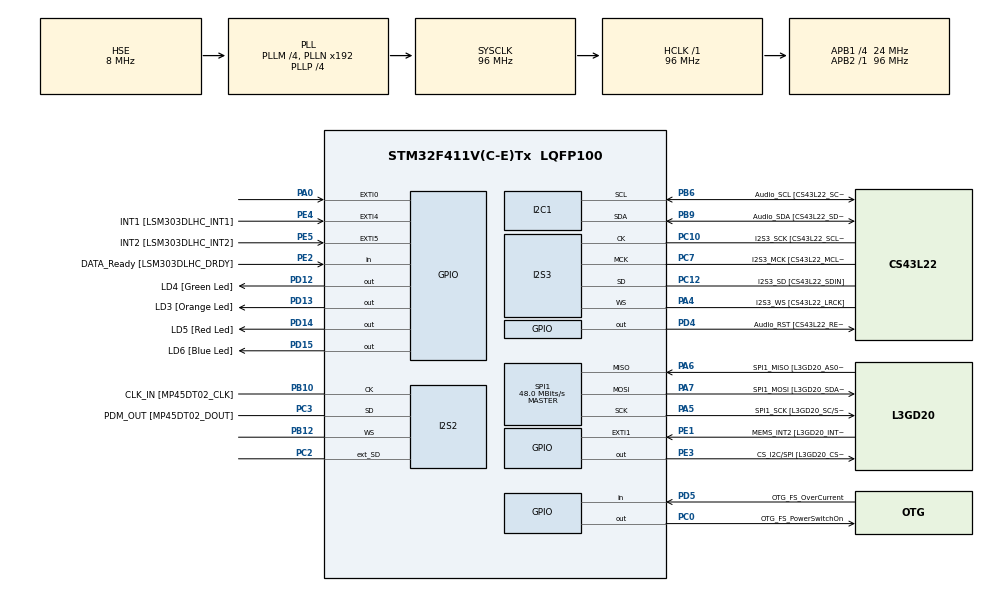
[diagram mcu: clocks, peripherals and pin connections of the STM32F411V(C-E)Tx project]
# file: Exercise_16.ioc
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FREERTOS.BinarySemaphores01=Green2Red,Dynamic,NULL;Red2Green,Dynamic,NULL
FREERTOS.Tasks01=GreenTask,0,128,StartGreenTask,Default,NULL,Dynamic,NULL,NULL;RedTask,0,128,StartRedTask,Default,NULL,Dynamic,NULL,NULL
I2S2.AudioFreq=I2S_AUDIOFREQ_96K
I2S2.ErrorAudioFreq=0.15 %
I2S2.FullDuplexMode=I2S_FULLDUPLEXMODE_ENABLE
I2S2.Instance=SPI$Index
I2S2.RealAudioFreq=96.153 KHz
I2S2.VirtualMode=I2S_MODE_MASTER
I2S3.AudioFreq=I2S_AUDIOFREQ_96K
I2S3.ErrorAudioFreq=-6.99 %
I2S3.FullDuplexMode=I2S_FULLDUPLEXMODE_DISABLE
I2S3.Instance=SPI$Index
I2S3.RealAudioFreq=89.285 KHz
I2S3.VirtualMode=I2S_MODE_MASTER
Mcu.Family=STM32F4
Mcu.Name=STM32F411V(C-E)Tx
Mcu.Package=LQFP100
NVIC.PriorityGroup=NVIC_PRIORITYGROUP_4
NVIC.TIM1_UP_TIM10_IRQn=true\:0\:0\:false\:false\:true\:false\:false\:true
NVIC.TimeBase=TIM1_UP_TIM10_IRQn
NVIC.TimeBaseIP=TIM1
PA0-WKUP.GPIO_ModeDefaultEXTI=GPIO_MODE_EVT_RISING
PA0-WKUP.Signal=GPXTI0
PA10.GPIO_Label=OTG_FS_ID
PA10.Signal=USB_OTG_FS_ID
PA11.GPIO_Label=OTG_FS_DM
PA11.Signal=USB_OTG_FS_DM
PA12.GPIO_Label=OTG_FS_DP
PA12.Signal=USB_OTG_FS_DP
PA13.GPIO_Label=SWDIO
PA13.Mode=Serial_Wire
PA13.Signal=SYS_JTMS-SWDIO
PA14.GPIO_Label=SWCLK
PA14.Mode=Serial_Wire
PA14.Signal=SYS_JTCK-SWCLK
PA4.GPIO_Label=I2S3_WS [CS43L22_LRCK]
PA4.GPIO_Mode=GPIO_MODE_AF_PP
PA4.GPIO_PuPd=GPIO_NOPULL
PA4.GPIO_Speed=GPIO_SPEED_FREQ_LOW
PA4.Mode=Half_Duplex_Master
PA4.Signal=I2S3_WS
PA5.GPIO_Label=SPI1_SCK [L3GD20_SC/SPC]
PA5.Mode=Full_Duplex_Master
PA5.Signal=SPI1_SCK
PA6.GPIO_Label=SPI1_MISO [L3GD20_AS0/SDO]
PA6.Mode=Full_Duplex_Master
PA6.Signal=SPI1_MISO
PA7.GPIO_Label=SPI1_MOSI [L3GD20_SDA/SDI/SDO]
PA7.Mode=Full_Duplex_Master
PA7.Signal=SPI1_MOSI
PA9.GPIO_Label=VBUS_FS
PA9.Signal=USB_OTG_FS_VBUS
PB10.GPIO_Label=CLK_IN [MP45DT02_CLK]
PB10.Mode=Full_Duplex_Master
PB10.Signal=I2S2_CK
PB12.Mode=Full_Duplex_Master
PB12.Signal=I2S2_WS
PB3.GPIO_Label=SWO
PB3.Signal=SYS_JTDO-SWO
PB6.GPIO_Label=Audio_SCL [CS43L22_SCL]
PB6.GPIO_Mode=GPIO_MODE_AF_OD
PB6.GPIO_PuPd=GPIO_NOPULL
PB6.GPIO_Speed=GPIO_SPEED_FREQ_LOW
PB6.Mode=I2C
PB6.Signal=I2C1_SCL
PB9.GPIO_Label=Audio_SDA [CS43L22_SDA]
PB9.GPIO_Mode=GPIO_MODE_AF_OD
PB9.GPIO_PuPd=GPIO_NOPULL
PB9.GPIO_Speed=GPIO_SPEED_FREQ_LOW
PB9.Mode=I2C
PB9.Signal=I2C1_SDA
PC0.GPIO_Label=OTG_FS_PowerSwitchOn
PC0.PinState=GPIO_PIN_SET
PC0.Signal=GPIO_Output
PC10.GPIO_Label=I2S3_SCK [CS43L22_SCLK]
PC10.GPIO_Mode=GPIO_MODE_AF_PP
PC10.GPIO_PuPd=GPIO_NOPULL
PC10.GPIO_Speed=GPIO_SPEED_FREQ_LOW
PC10.Mode=Half_Duplex_Master
PC10.Signal=I2S3_CK
PC12.GPIO_Label=I2S3_SD [CS43L22_SDIN]
PC12.GPIO_Mode=GPIO_MODE_AF_PP
PC12.GPIO_PuPd=GPIO_NOPULL
PC12.GPIO_Speed=GPIO_SPEED_FREQ_LOW
PC12.Mode=Half_Duplex_Master
PC12.Signal=I2S3_SD
PC14-OSC32_IN.GPIO_Label=PC14-OSC32_IN
PC14-OSC32_IN.Mode=LSE-External-Oscillator
PC14-OSC32_IN.Signal=RCC_OSC32_IN
PC15-OSC32_OUT.GPIO_Label=PC15-OSC32_OUT
PC15-OSC32_OUT.Mode=LSE-External-Oscillator
PC15-OSC32_OUT.Signal=RCC_OSC32_OUT
PC2.Mode=Full_Duplex_Master
PC2.Signal=I2S2_ext_SD
PC3.GPIO_Label=PDM_OUT [MP45DT02_DOUT]
PC3.Mode=Full_Duplex_Master
PC3.Signal=I2S2_SD
PC7.GPIO_Label=I2S3_MCK [CS43L22_MCLK]
PC7.GPIO_Mode=GPIO_MODE_AF_PP
PC7.GPIO_PuPd=GPIO_NOPULL
PC7.GPIO_Speed=GPIO_SPEED_FREQ_LOW
PC7.Mode=Master_Clock_Activated
PC7.Signal=I2S3_MCK
PD12.GPIO_Label=LD4 [Green Led]
PD12.GPIO_PuPd=GPIO_NOPULL
PD12.GPIO_Speed=GPIO_SPEED_FREQ_LOW
PD12.Signal=GPIO_Output
PD13.GPIO_Label=LD3 [Orange Led]
PD13.GPIO_PuPd=GPIO_NOPULL
PD13.GPIO_Speed=GPIO_SPEED_FREQ_LOW
PD13.Signal=GPIO_Output
PD14.GPIO_Label=LD5 [Red Led]
PD14.GPIO_PuPd=GPIO_NOPULL
PD14.GPIO_Speed=GPIO_SPEED_FREQ_LOW
PD14.Signal=GPIO_Output
PD15.GPIO_Label=LD6 [Blue Led]
PD15.GPIO_PuPd=GPIO_NOPULL
PD15.GPIO_Speed=GPIO_SPEED_FREQ_LOW
PD15.Signal=GPIO_Output
PD4.GPIO_Label=Audio_RST [CS43L22_RESET]
PD4.Signal=GPIO_Output
PD5.GPIO_Label=OTG_FS_OverCurrent
PD5.Signal=GPIO_Input
PE1.GPIO_Label=MEMS_INT2 [L3GD20_INT2]
PE1.GPIO_ModeDefaultEXTI=GPIO_MODE_EVT_RISING
PE1.Signal=GPXTI1
PE2.GPIO_Label=DATA_Ready [LSM303DLHC_DRDY]
PE2.Signal=GPIO_Input
PE3.GPIO_Label=CS_I2C/SPI [L3GD20_CS_I2C/SPI]
PE3.Signal=GPIO_Output
PE4.GPIO_Label=INT1 [LSM303DLHC_INT1]
PE4.GPIO_ModeDefaultEXTI=GPIO_MODE_EVT_RISING
PE4.Signal=GPXTI4
PE5.GPIO_Label=INT2 [LSM303DLHC_INT2]
PE5.GPIO_ModeDefaultEXTI=GPIO_MODE_EVT_RISING
PE5.Signal=GPXTI5
PH0\ -\ OSC_IN.GPIO_Label=PH0-OSC_IN
PH0\ -\ OSC_IN.Mode=HSE-External-Clock-Source
PH0\ -\ OSC_IN.Signal=RCC_OSC_IN
PH1\ -\ OSC_OUT.GPIO_Label=PH1-OSC_OUT
PH1\ -\ OSC_OUT.Mode=HSE-External-Clock-Source
PH1\ -\ OSC_OUT.Signal=RCC_OSC_OUT
ProjectManager.HeapSize=0x200
ProjectManager.StackSize=0x400
ProjectManager.TargetToolchain=STM32CubeIDE
RCC.48MHZClocksFreq_Value=48000000
RCC.AHBFreq_Value=96000000
RCC.APB1CLKDivider=RCC_HCLK_DIV4
RCC.APB1Freq_Value=24000000
RCC.APB1TimFreq_Value=48000000
RCC.APB2Freq_Value=96000000
RCC.APB2TimFreq_Value=96000000
RCC.CortexFreq_Value=96000000
RCC.HCLKFreq_Value=96000000
RCC.HSE_VALUE=8000000
RCC.HSI_VALUE=16000000
RCC.PLLI2SM=5
RCC.PLLI2SN=200
RCC.PLLM=4
RCC.PLLP=RCC_PLLP_DIV4
RCC.PLLQ=8
RCC.PLLSourceVirtual=RCC_PLLSOURCE_HSE
RCC.SYSCLKFreq_VALUE=96000000
RCC.SYSCLKSource=RCC_SYSCLKSOURCE_PLLCLK
RCC.VCOOutputFreq_Value=384000000
SPI1.BaudRatePrescaler=SPI_BAUDRATEPRESCALER_2
SPI1.CalculateBaudRate=48.0 MBits/s
SPI1.Direction=SPI_DIRECTION_2LINES
SPI1.Mode=SPI_MODE_MASTER
SPI1.VirtualType=VM_MASTER
VP_FREERTOS_VS_CMSIS_V1.Mode=CMSIS_V1
VP_SYS_VS_tim1.Mode=TIM1
board=STM32F411E-DISCO

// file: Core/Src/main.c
/* USER CODE BEGIN Header */
/**
  ******************************************************************************
  * @file           : main.c
  * @brief          : Main program body
  ******************************************************************************
  * @attention
  *
  * <h2><center>&copy; Copyright (c) 2023 STMicroelectronics.
  * All rights reserved.</center></h2>
  *
  * This software component is licensed by ST under Ultimate Liberty license
  * SLA0044, the "License"; You may not use this file except in compliance with
  * the License. You may obtain a copy of the License at:
  *                             www.st.com/SLA0044
  *
  ******************************************************************************
  */
/* USER CODE END Header */

#include "main.h"
#include "cmsis_os.h"

/* USER CODE BEGIN PD */
#define green GPIO_PIN_12
#define orange GPIO_PIN_13
#define red GPIO_PIN_14
#define blue GPIO_PIN_15
/* USER CODE END PD */

I2C_HandleTypeDef hi2c1;

I2S_HandleTypeDef hi2s2;
I2S_HandleTypeDef hi2s3;

SPI_HandleTypeDef hspi1;

osThreadId GreenTaskHandle;
osThreadId RedTaskHandle;
osSemaphoreId Green2RedHandle;
osSemaphoreId Red2GreenHandle;

void SystemClock_Config(void);
static void MX_GPIO_Init(void);
static void MX_I2C1_Init(void);
static void MX_I2S2_Init(void);
static void MX_I2S3_Init(void);
static void MX_SPI1_Init(void);
void StartGreenTask(void const * argument);
void StartRedTask(void const * argument);

int main(void)
{

  /* MCU Configuration--------------------------------------------------------*/

  /* Reset of all peripherals, Initializes the Flash interface and the Systick. */
  HAL_Init();

  /* Configure the system clock */
  SystemClock_Config();

  /* Initialize all configured peripherals */
  MX_GPIO_Init();
  MX_I2C1_Init();
  MX_I2S2_Init();
  MX_I2S3_Init();
  MX_SPI1_Init();

  /* Create the semaphores(s) */
  /* definition and creation of Green2Red */
  osSemaphoreDef(Green2Red);
  Green2RedHandle = osSemaphoreCreate(osSemaphore(Green2Red), 1);

  /* definition and creation of Red2Green */
  osSemaphoreDef(Red2Green);
  Red2GreenHandle = osSemaphoreCreate(osSemaphore(Red2Green), 1);

  /* USER CODE BEGIN RTOS_SEMAPHORES */
  osSemaphoreWait(Green2RedHandle,0);
  osSemaphoreWait(Red2GreenHandle,0);
  /* USER CODE END RTOS_SEMAPHORES */

  /* Create the thread(s) */
  /* definition and creation of GreenTask */
  osThreadDef(GreenTask, StartGreenTask, osPriorityNormal, 0, 128);
  GreenTaskHandle = osThreadCreate(osThread(GreenTask), NULL);

  /* definition and creation of RedTask */
  osThreadDef(RedTask, StartRedTask, osPriorityNormal, 0, 128);
  RedTaskHandle = osThreadCreate(osThread(RedTask), NULL);

  /* Start scheduler */
  osKernelStart();

  /* We should never get here as control is now taken by the scheduler */

  /* Infinite loop */
  while (1)
  {

  }
}

void SystemClock_Config(void)
{
  RCC_OscInitTypeDef RCC_OscInitStruct = {0};
  RCC_ClkInitTypeDef RCC_ClkInitStruct = {0};
  RCC_PeriphCLKInitTypeDef PeriphClkInitStruct = {0};

  /** Configure the main internal regulator output voltage
  */
  __HAL_RCC_PWR_CLK_ENABLE();
  __HAL_PWR_VOLTAGESCALING_CONFIG(PWR_REGULATOR_VOLTAGE_SCALE1);
  /** Initializes the CPU, AHB and APB busses clocks
  */
  RCC_OscInitStruct.OscillatorType = RCC_OSCILLATORTYPE_HSE;
  RCC_OscInitStruct.HSEState = RCC_HSE_BYPASS;
  RCC_OscInitStruct.PLL.PLLState = RCC_PLL_ON;
  RCC_OscInitStruct.PLL.PLLSource = RCC_PLLSOURCE_HSE;
  RCC_OscInitStruct.PLL.PLLM = 4;
  RCC_OscInitStruct.PLL.PLLN = 192;
  RCC_OscInitStruct.PLL.PLLP = RCC_PLLP_DIV4;
  RCC_OscInitStruct.PLL.PLLQ = 8;
  if (HAL_RCC_OscConfig(&RCC_OscInitStruct) != HAL_OK)
  {
    Error_Handler();
  }
  /** Initializes the CPU, AHB and APB busses clocks
  */
  RCC_ClkInitStruct.ClockType = RCC_CLOCKTYPE_HCLK|RCC_CLOCKTYPE_SYSCLK
                              |RCC_CLOCKTYPE_PCLK1|RCC_CLOCKTYPE_PCLK2;
  RCC_ClkInitStruct.SYSCLKSource = RCC_SYSCLKSOURCE_PLLCLK;
  RCC_ClkInitStruct.AHBCLKDivider = RCC_SYSCLK_DIV1;
  RCC_ClkInitStruct.APB1CLKDivider = RCC_HCLK_DIV4;
  RCC_ClkInitStruct.APB2CLKDivider = RCC_HCLK_DIV1;

  if (HAL_RCC_ClockConfig(&RCC_ClkInitStruct, FLASH_LATENCY_3) != HAL_OK)
  {
    Error_Handler();
  }
  PeriphClkInitStruct.PeriphClockSelection = RCC_PERIPHCLK_I2S;
  PeriphClkInitStruct.PLLI2S.PLLI2SN = 200;
  PeriphClkInitStruct.PLLI2S.PLLI2SM = 5;
  PeriphClkInitStruct.PLLI2S.PLLI2SR = 2;
  if (HAL_RCCEx_PeriphCLKConfig(&PeriphClkInitStruct) != HAL_OK)
  {
    Error_Handler();
  }
}

static void MX_I2C1_Init(void)
{

  hi2c1.Instance = I2C1;
  hi2c1.Init.ClockSpeed = 100000;
  hi2c1.Init.DutyCycle = I2C_DUTYCYCLE_2;
  hi2c1.Init.OwnAddress1 = 0;
  hi2c1.Init.AddressingMode = I2C_ADDRESSINGMODE_7BIT;
  hi2c1.Init.DualAddressMode = I2C_DUALADDRESS_DISABLE;
  hi2c1.Init.OwnAddress2 = 0;
  hi2c1.Init.GeneralCallMode = I2C_GENERALCALL_DISABLE;
  hi2c1.Init.NoStretchMode = I2C_NOSTRETCH_DISABLE;
  if (HAL_I2C_Init(&hi2c1) != HAL_OK)
  {
    Error_Handler();
  }

}

static void MX_I2S2_Init(void)
{

  hi2s2.Instance = SPI2;
  hi2s2.Init.Mode = I2S_MODE_MASTER_TX;
  hi2s2.Init.Standard = I2S_STANDARD_PHILIPS;
  hi2s2.Init.DataFormat = I2S_DATAFORMAT_16B;
  hi2s2.Init.MCLKOutput = I2S_MCLKOUTPUT_DISABLE;
  hi2s2.Init.AudioFreq = I2S_AUDIOFREQ_96K;
  hi2s2.Init.CPOL = I2S_CPOL_LOW;
  hi2s2.Init.ClockSource = I2S_CLOCK_PLL;
  hi2s2.Init.FullDuplexMode = I2S_FULLDUPLEXMODE_ENABLE;
  if (HAL_I2S_Init(&hi2s2) != HAL_OK)
  {
    Error_Handler();
  }

}

static void MX_I2S3_Init(void)
{

  hi2s3.Instance = SPI3;
  hi2s3.Init.Mode = I2S_MODE_MASTER_TX;
  hi2s3.Init.Standard = I2S_STANDARD_PHILIPS;
  hi2s3.Init.DataFormat = I2S_DATAFORMAT_16B;
  hi2s3.Init.MCLKOutput = I2S_MCLKOUTPUT_ENABLE;
  hi2s3.Init.AudioFreq = I2S_AUDIOFREQ_96K;
  hi2s3.Init.CPOL = I2S_CPOL_LOW;
  hi2s3.Init.ClockSource = I2S_CLOCK_PLL;
  hi2s3.Init.FullDuplexMode = I2S_FULLDUPLEXMODE_DISABLE;
  if (HAL_I2S_Init(&hi2s3) != HAL_OK)
  {
    Error_Handler();
  }

}

static void MX_SPI1_Init(void)
{

  /* SPI1 parameter configuration*/
  hspi1.Instance = SPI1;
  hspi1.Init.Mode = SPI_MODE_MASTER;
  hspi1.Init.Direction = SPI_DIRECTION_2LINES;
  hspi1.Init.DataSize = SPI_DATASIZE_8BIT;
  hspi1.Init.CLKPolarity = SPI_POLARITY_LOW;
  hspi1.Init.CLKPhase = SPI_PHASE_1EDGE;
  hspi1.Init.NSS = SPI_NSS_SOFT;
  hspi1.Init.BaudRatePrescaler = SPI_BAUDRATEPRESCALER_2;
  hspi1.Init.FirstBit = SPI_FIRSTBIT_MSB;
  hspi1.Init.TIMode = SPI_TIMODE_DISABLE;
  hspi1.Init.CRCCalculation = SPI_CRCCALCULATION_DISABLE;
  hspi1.Init.CRCPolynomial = 10;
  if (HAL_SPI_Init(&hspi1) != HAL_OK)
  {
    Error_Handler();
  }

}

static void MX_GPIO_Init(void)
{
  GPIO_InitTypeDef GPIO_InitStruct = {0};

  /* GPIO Ports Clock Enable */
  __HAL_RCC_GPIOE_CLK_ENABLE();
  __HAL_RCC_GPIOC_CLK_ENABLE();
  __HAL_RCC_GPIOH_CLK_ENABLE();
  __HAL_RCC_GPIOA_CLK_ENABLE();
  __HAL_RCC_GPIOB_CLK_ENABLE();
  __HAL_RCC_GPIOD_CLK_ENABLE();

  /*Configure GPIO pin Output Level */
  HAL_GPIO_WritePin(CS_I2C_SPI_GPIO_Port, CS_I2C_SPI_Pin, GPIO_PIN_RESET);

  /*Configure GPIO pin Output Level */
  HAL_GPIO_WritePin(OTG_FS_PowerSwitchOn_GPIO_Port, OTG_FS_PowerSwitchOn_Pin, GPIO_PIN_SET);

  /*Configure GPIO pin Output Level */
  HAL_GPIO_WritePin(GPIOD, LD4_Pin|LD3_Pin|LD5_Pin|LD6_Pin
                          |Audio_RST_Pin, GPIO_PIN_RESET);

  /*Configure GPIO pin : DATA_Ready_Pin */
  GPIO_InitStruct.Pin = DATA_Ready_Pin;
  GPIO_InitStruct.Mode = GPIO_MODE_INPUT;
  GPIO_InitStruct.Pull = GPIO_NOPULL;
  HAL_GPIO_Init(DATA_Ready_GPIO_Port, &GPIO_InitStruct);

  /*Configure GPIO pin : CS_I2C_SPI_Pin */
  GPIO_InitStruct.Pin = CS_I2C_SPI_Pin;
  GPIO_InitStruct.Mode = GPIO_MODE_OUTPUT_PP;
  GPIO_InitStruct.Pull = GPIO_NOPULL;
  GPIO_InitStruct.Speed = GPIO_SPEED_FREQ_LOW;
  HAL_GPIO_Init(CS_I2C_SPI_GPIO_Port, &GPIO_InitStruct);

  /*Configure GPIO pins : INT1_Pin INT2_Pin MEMS_INT2_Pin */
  GPIO_InitStruct.Pin = INT1_Pin|INT2_Pin|MEMS_INT2_Pin;
  GPIO_InitStruct.Mode = GPIO_MODE_EVT_RISING;
  GPIO_InitStruct.Pull = GPIO_NOPULL;
  HAL_GPIO_Init(GPIOE, &GPIO_InitStruct);

  /*Configure GPIO pin : OTG_FS_PowerSwitchOn_Pin */
  GPIO_InitStruct.Pin = OTG_FS_PowerSwitchOn_Pin;
  GPIO_InitStruct.Mode = GPIO_MODE_OUTPUT_PP;
  GPIO_InitStruct.Pull = GPIO_NOPULL;
  GPIO_InitStruct.Speed = GPIO_SPEED_FREQ_LOW;
  HAL_GPIO_Init(OTG_FS_PowerSwitchOn_GPIO_Port, &GPIO_InitStruct);

  /*Configure GPIO pin : PA0 */
  GPIO_InitStruct.Pin = GPIO_PIN_0;
  GPIO_InitStruct.Mode = GPIO_MODE_EVT_RISING;
  GPIO_InitStruct.Pull = GPIO_NOPULL;
  HAL_GPIO_Init(GPIOA, &GPIO_InitStruct);

  /*Configure GPIO pins : LD4_Pin LD3_Pin LD5_Pin LD6_Pin
                           Audio_RST_Pin */
  GPIO_InitStruct.Pin = LD4_Pin|LD3_Pin|LD5_Pin|LD6_Pin
                          |Audio_RST_Pin;
  GPIO_InitStruct.Mode = GPIO_MODE_OUTPUT_PP;
  GPIO_InitStruct.Pull = GPIO_NOPULL;
  GPIO_InitStruct.Speed = GPIO_SPEED_FREQ_LOW;
  HAL_GPIO_Init(GPIOD, &GPIO_InitStruct);

  /*Configure GPIO pin : VBUS_FS_Pin */
  GPIO_InitStruct.Pin = VBUS_FS_Pin;
  GPIO_InitStruct.Mode = GPIO_MODE_INPUT;
  GPIO_InitStruct.Pull = GPIO_NOPULL;
  HAL_GPIO_Init(VBUS_FS_GPIO_Port, &GPIO_InitStruct);

  /*Configure GPIO pins : OTG_FS_ID_Pin OTG_FS_DM_Pin OTG_FS_DP_Pin */
  GPIO_InitStruct.Pin = OTG_FS_ID_Pin|OTG_FS_DM_Pin|OTG_FS_DP_Pin;
  GPIO_InitStruct.Mode = GPIO_MODE_AF_PP;
  GPIO_InitStruct.Pull = GPIO_NOPULL;
  GPIO_InitStruct.Speed = GPIO_SPEED_FREQ_VERY_HIGH;
  GPIO_InitStruct.Alternate = GPIO_AF10_OTG_FS;
  HAL_GPIO_Init(GPIOA, &GPIO_InitStruct);

  /*Configure GPIO pin : OTG_FS_OverCurrent_Pin */
  GPIO_InitStruct.Pin = OTG_FS_OverCurrent_Pin;
  GPIO_InitStruct.Mode = GPIO_MODE_INPUT;
  GPIO_InitStruct.Pull = GPIO_NOPULL;
  HAL_GPIO_Init(OTG_FS_OverCurrent_GPIO_Port, &GPIO_InitStruct);

}

void StartGreenTask(void const * argument)
{
  /* USER CODE BEGIN 5 */
  /* Infinite loop */
  for(;;)
  {
  for(int i = 0; i <= 50; i++) // Flash green led for 5 sec @ 10 Hz
	{
		HAL_GPIO_WritePin(GPIOD, green, GPIO_PIN_SET);
		osDelay(50);
		HAL_GPIO_WritePin(GPIOD, green, GPIO_PIN_RESET);
		osDelay(50);
	}

  osSemaphoreWait(Green2RedHandle, osWaitForever); // Wait for Red Task

  for(int i = 0; i <= 10; i++) // Flash green led for 10 sec @ 1 Hz
	{
		HAL_GPIO_WritePin(GPIOD, green, GPIO_PIN_SET);
		osDelay(500);
		HAL_GPIO_WritePin(GPIOD, green, GPIO_PIN_RESET);
		osDelay(500);
	}

  osSemaphoreRelease(Red2GreenHandle); // Release Green Task
  }
  /* USER CODE END 5 */
}

void StartRedTask(void const * argument)
{
  /* USER CODE BEGIN StartRedTask */
  /* Infinite loop */
  for(;;)
  {
  for(int i = 0; i <= 10; i++) // Flash red led for 10 sec @ 1 Hz
	{
		HAL_GPIO_WritePin(GPIOD, red, GPIO_PIN_SET);
		osDelay(500);
		HAL_GPIO_WritePin(GPIOD, red, GPIO_PIN_RESET);
		osDelay(500);
	}

  osSemaphoreRelease(Green2RedHandle); // Release Green Task

  for(int i = 0; i <= 50; i++) // Flash red led for 5 sec @ 10 Hz
  	{
  		HAL_GPIO_WritePin(GPIOD, red, GPIO_PIN_SET);
  		osDelay(50);
  		HAL_GPIO_WritePin(GPIOD, red, GPIO_PIN_RESET);
  		osDelay(50);
  	}

  osSemaphoreWait(Red2GreenHandle, osWaitForever); // Wait Red Task
  }
  /* USER CODE END StartRedTask */
}

void HAL_TIM_PeriodElapsedCallback(TIM_HandleTypeDef *htim)
{
  if (htim->Instance == TIM1) {
    HAL_IncTick();
  }
}

void Error_Handler(void)
{
}

/************************ (C) COPYRIGHT STMicroelectronics *****END OF FILE****/
